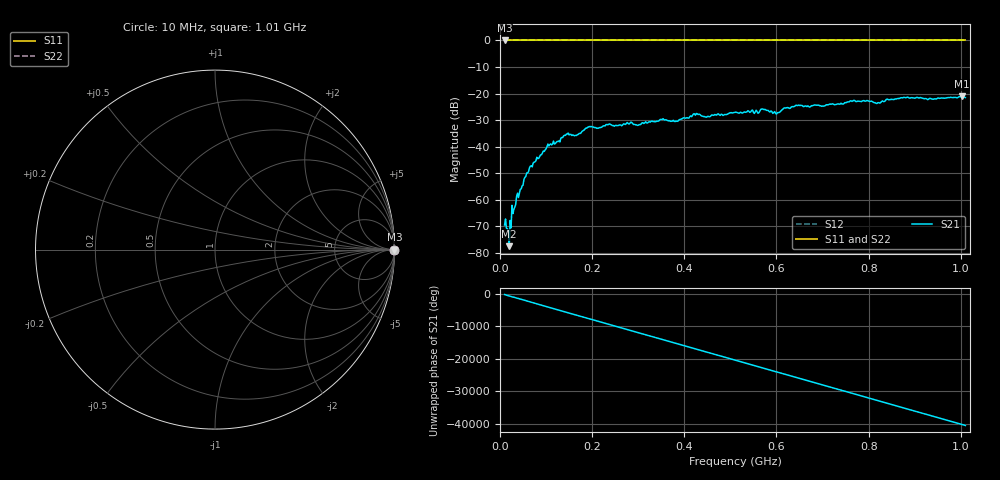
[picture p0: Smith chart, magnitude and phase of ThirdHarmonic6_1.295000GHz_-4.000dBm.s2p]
! 8/16/2025 2:11:48 PM
! C:\ANRITSUVNA\TEMP\TEMP.S2P
! CHANNEL.1
! TR.MEASUREMENT
! RAW.DATA
! RF.CORRECTION.OFF
! AVERAGING.OFF
! IF.BANDWIDTH: 5KHZ
! SWEEPTYPE:  FREQ.SWEEP(Linear)
! Reference Plane Port Info
! PORT:  PORT1  PORT2
! DISTANCE:  0  m  0  m
! TIME:  0  s  0  s
! PHASE.OFFSET:  0  deg.  0  deg.
! LOSS:  0  dB  0  dB
! REF.LOSS:  0  dB  0  dB
! REF.FREQ:  0  Hz  0  Hz
! Power Info
! POWER:  -20  dBm  -20  dBm
! EFF.POWER:  -20  dBm  -20  dBm
! SOURCE.ATTEN:  0  dB  0  dB
! TEST.ATTEN:  0  dB  0  dB
# GHZ S RI R 50.0
! FREQ.GHZ  S11RE  S11IM  S21RE  S21IM  S12RE  S12IM  S22RE  S22IM
!; PortSelection: Port_12
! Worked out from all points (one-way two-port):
!   501 points, 10 MHz to 1.01 GHz, reference 50 ohm
!   highest |S21| = -21.07 dB at 1.002 GHz (marker M1); lowest = -77.6 dB at 20 MHz (marker M2)
!   lowest |S11| = 0.0 dB at 10 MHz (marker M3)
!   |S11| at or under -10 dB: nowhere
!   |S22| runs from 0.0 to 0.0 dB; largest |S21 - S12| = 1.1
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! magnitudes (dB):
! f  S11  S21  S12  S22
! 10 MHz  0.0  -69.6  0.0  0.0
! 20 MHz  0.0  -77.6  0.0  0.0
! 26 MHz  0.0  -62.1  0.0  0.0
! 40 MHz  0.0  -59.2  0.0  0.0
! 68 MHz  0.0  -47.2  0.0  0.0
! 106 MHz  0.0  -39.7  0.0  0.0
! 144 MHz  0.0  -35.4  0.0  0.0
! 178 MHz  0.0  -34.3  0.0  0.0
! 194 MHz  0.0  -32.4  0.0  0.0
! 344 MHz  0.0  -30.4  0.0  0.0
! 382 MHz  0.0  -30.4  0.0  0.0
! 424 MHz  0.0  -28.2  0.0  0.0
! 510 MHz  0.0  -27.1  0.0  0.0
! 570 MHz  0.0  -25.8  0.0  0.0
! 602 MHz  0.0  -27.2  0.0  0.0
! 644 MHz  0.0  -24.5  0.0  0.0
! 678 MHz  0.0  -24.6  0.0  0.0
! 766 MHz  0.0  -22.7  0.0  0.0
! 820 MHz  0.0  -23.5  0.0  0.0
! 844 MHz  0.0  -22.4  0.0  0.0
! 1.002 GHz  0.0  -21.1  0.0  0.0
! 1.01 GHz  0.0  -21.5  0.0  0.0
